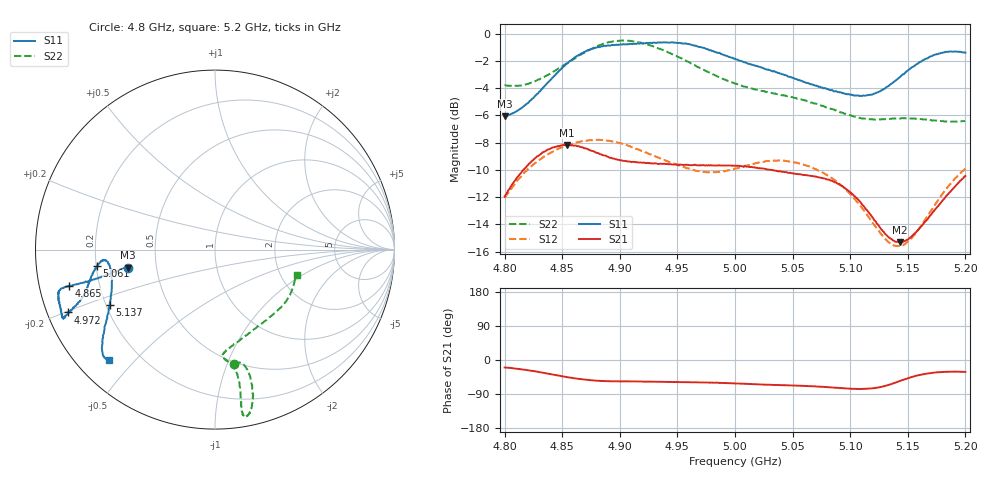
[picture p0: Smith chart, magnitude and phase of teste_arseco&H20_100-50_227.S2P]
! Network Analyzer HP8722D
! Hewlett-Packard
! Data name: Linha & Wilkinson
! Saver's name: Rodrigo Anjos
! Comments: Teste da utilização de aquisição
! continua pelo VNA HP8722D
! Time and date: 6/5/2025 14:27
!  Frequency  S11  S21  S12  S22
# HZ  S  MA R 50
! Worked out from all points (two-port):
!   401 points, 4.8 GHz to 5.2 GHz, reference 50 ohm
!   highest |S21| = -8.16 dB at 4.854 GHz (marker M1); lowest = -15.3 dB at 5.143 GHz (marker M2)
!   |S21| within 3 dB of the highest: 4.806 GHz to 5.092 GHz (286.5 MHz wide, 5.79 % of centre); 5.191591 GHz to end of sweep
!   lowest |S11| = -6.1 dB at 4.8 GHz (marker M3), VSWR 2.98, Z = 17 - j4.57 ohm
!   |S11| at or under -10 dB: nowhere
!   |S22| runs from -6.5 to -0.5 dB; largest |S21 - S12| = 0.62
!   S11 on the Smith chart (normalised r, x): 4.8 GHz: 0.34, -0.09; 4.865 GHz: 0.09, -0.12; 4.972 GHz: 0.06, -0.20; 5.061 GHz: 0.20, -0.07; 5.137 GHz: 0.22, -0.23; 5.2 GHz: 0.09, -0.42
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4.8e9  0.4971 -168.2  0.2525 -19.8  0.2493 -141.0  0.6481 -80.4
4.826e9  0.5883 -167.4  0.3478 -29.9  0.3337 -144.5  0.6681 -75.6
4.854e9  0.7776 -166.0  0.3907 -45.1  0.3889 -150.0  0.7792 -74.7
4.865e9  0.8391 -166.1  0.3851 -50.0  0.4007 -151.8  0.8332 -75.2
4.867e9  0.8492 -166.0  0.3828 -50.9  0.4028 -152.1  0.8433 -75.5
4.883e9  0.8966 -165.2  0.3608 -55.0  0.4074 -154.8  0.9096 -77.2
4.901e9  0.9153 -162.6  0.343 -56.4  0.3958 -156.9  0.9453 -79.3
4.934e9  0.9287 -156.6  0.3325 -57.6  0.3505 -155.8  0.8825 -80.5
4.952e9  0.9269 -155.6  0.3305 -58.3  0.3279 -152.4  0.818 -80.0
4.972e9  0.8888 -156.8  0.3294 -59.1  0.3111 -146.2  0.7404 -79.7
5e9  0.8099 -159.0  0.3277 -61.8  0.32 -137.3  0.6561 -81.3
5.036e9  0.7228 -165.6  0.3137 -65.9  0.3419 -134.5  0.6012 -85.7
5.061e9  0.6626 -171.9  0.3028 -68.5  0.3292 -136.4  0.5687 -83.9
5.067e9  0.6514 -173.1  0.3003 -69.2  0.3227 -136.8  0.5588 -82.6
5.087e9  0.6153 -174.4  0.2841 -73.2  0.2891 -138.6  0.5234 -74.7
5.103e9  0.5945 -171.6  0.2546 -76.0  0.2496 -138.7  0.4975 -65.2
5.134e9  0.6467 -154.2  0.178 -65.1  0.1706 -120.6  0.4866 -43.4
5.137e9  0.6613 -152.4  0.1742 -62.3  0.1678 -116.7  0.4885 -41.4
5.143e9  0.6922 -149.2  0.1713 -55.6  0.166 -108.8  0.4884 -38.1
5.154e9  0.7556 -144.6  0.1814 -44.4  0.179 -95.1  0.4889 -32.3
5.173e9  0.8369 -138.9  0.224 -33.2  0.2332 -80.9  0.4812 -24.2
5.2e9  0.8527 -133.7  0.3004 -31.4  0.3197 -76.9  0.4778 -17.5
